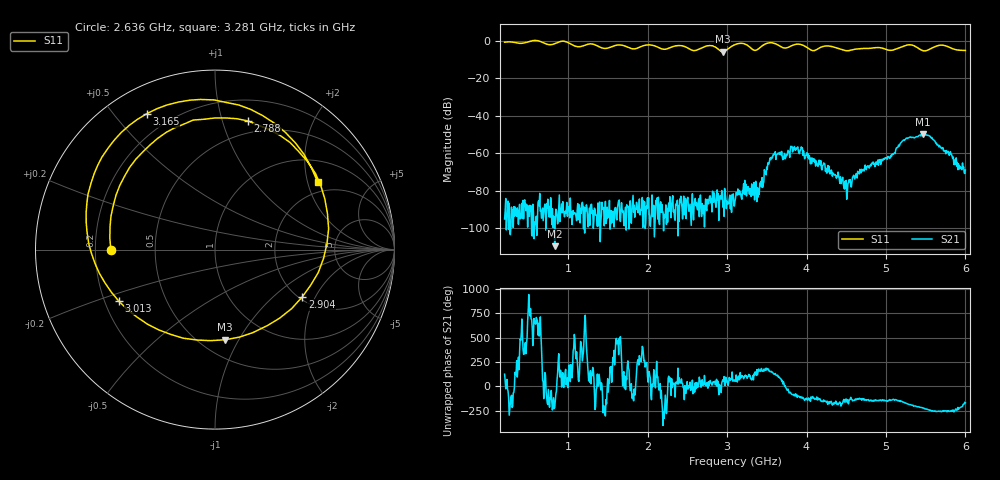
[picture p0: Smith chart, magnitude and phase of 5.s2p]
! NanoVNA-App by OneOfEleven et al v1.1.209 (+OD15)
! Date: 2024-07-30 15:24:11
! Start: 200MHz Stop: 6GHz Points: 801
! S-Parameter data: F S11 S21 S12 S22
# Hz S RI R 50
!  Frequency  S11_Real  S11_Imag  S21_Real  S21_Imag  S12_Real  S12_Imag  S22_Real  S22_Imag
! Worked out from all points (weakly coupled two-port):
!   801 points, 200 MHz to 6 GHz, reference 50 ohm
!   highest |S21| = -49.85 dB at 5.463 GHz (marker M1); lowest = -109.4 dB at 830.8 MHz (marker M2)
!   lowest |S11| = -5.9 dB at 2.948 GHz (marker M3), VSWR 3.04, Z = 32.6 - j43.9 ohm
!   |S11| at or under -10 dB: nowhere
!   S12 and S22 are empty: the file has one direction only
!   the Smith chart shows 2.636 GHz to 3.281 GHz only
!   S11 on the Smith chart (normalised r, x): 2.636 GHz: 0.27, -0.00; 2.788 GHz: 0.38, +1.21; 2.904 GHz: 2.08, -1.58; 3.013 GHz: 0.26, -0.24; 3.165 GHz: 0.11, +0.61; 3.281 GHz: 1.64, +2.32
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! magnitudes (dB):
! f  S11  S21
! 200 MHz  -0.8  -95.0
! 830.8 MHz  -1.6  -109.4
! 1.171 GHz  -3.0  -87.3
! 2.136 GHz  -3.6  -83.3
! 2.636 GHz  -4.7  -86.5
! 2.788 GHz  -2.6  -82.6
! 2.904 GHz  -5.1  -85.9
! 2.948 GHz  -5.9  -88.6
! 3.013 GHz  -4.3  -87.0
! 3.1 GHz  -2.1  -85.3
! 3.165 GHz  -1.4  -80.8
! 3.281 GHz  -3.3  -81.7
! 3.419 GHz  -3.5  -75.5
! 3.607 GHz  -1.6  -59.1
! 3.861 GHz  -2.0  -58.4
! 4.072 GHz  -5.2  -62.5
! 4.492 GHz  -5.3  -78.5
! 5.036 GHz  -5.1  -61.8
! 5.231 GHz  -2.8  -53.1
! 5.463 GHz  -5.3  -49.9
! 5.696 GHz  -2.4  -57.3
! 6 GHz  -5.3  -68.9
